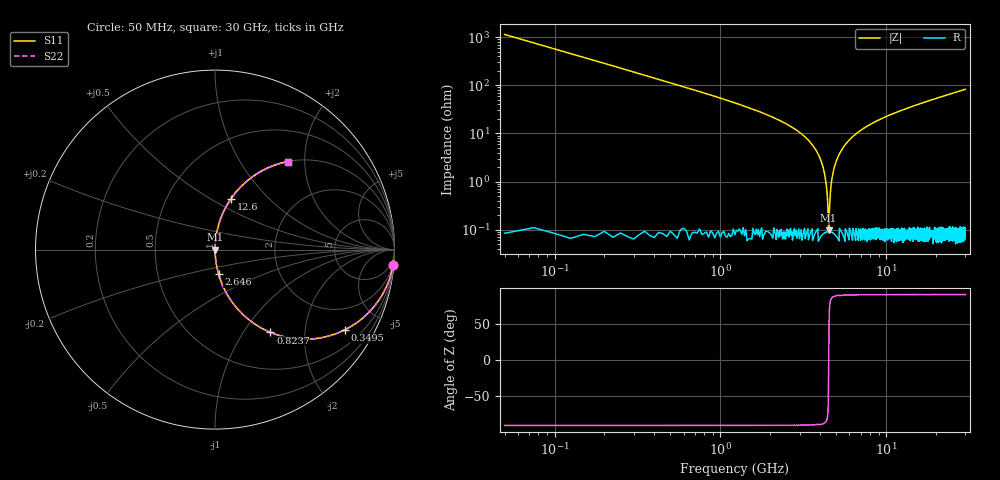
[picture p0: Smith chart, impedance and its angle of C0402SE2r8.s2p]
!	AVX Thin Film Operation 	Date: April 2014
!	Description: Accu-P® Series, Thin Film  SMD RF Capacitor
!	Part Number: 04025J2R8QBSTR
# MHZ S MA R 50
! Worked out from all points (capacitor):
!   1201 points, 50 MHz to 30 GHz, reference 50 ohm
!   read as one part in series: C = 2.8 pF near 199.8 MHz
!   lowest |Z| = 97.9 mohm at 4.493 GHz (marker M1)
!   series resonance near 4.499 GHz, so ESL is about 450 pH
!   S11 on the Smith chart (normalised r, x): 50 MHz: 1, -23; 349.5 MHz: 1.00, -3.23; 823.7 MHz: 1.00, -1.33; 2.646 GHz: 1.00, -0.28; 12.6 GHz: 1.00, +0.62; 30 GHz: 1.00, +1.65
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50  0.996 -5.0  0.088 85.0  0.088 85.0  0.996 -5.0
349.5  0.85 -31.7  0.526 58.2  0.526 58.2  0.85 -31.7
823.708  0.555 -56.2  0.831 33.7  0.831 33.7  0.555 -56.2
1472.625  0.326 -70.9  0.945 19.0  0.945 19.0  0.326 -70.9
2645.667  0.139 -81.7  0.989 8.0  0.989 8.0  0.139 -81.7
3419.375  0.07 -85.3  0.997 4.0  0.997 4.0  0.07 -85.3
3943.5  0.033 -86.7  0.999 1.9  0.999 1.9  0.033 -86.7
4193.083  0.018 -86.3  0.999 1.0  0.999 1.0  0.018 -86.3
4292.917  0.012 -85.3  0.999 0.7  0.999 0.7  0.012 -85.3
4392.75  0.006075 -81.8  0.999 0.3  0.999 0.3  0.006075 -81.8
4492.583  0.000898 -22.5  0.999 0.0  0.999 0.0  0.000898 -22.5
4592.417  0.005272 80.6  0.999 -0.3  0.999 -0.3  0.005272 80.6
4792.083  0.016 86.1  0.999 -0.9  0.999 -0.9  0.016 86.1
5041.667  0.029 86.7  0.999 -1.7  0.999 -1.7  0.029 86.7
5640.667  0.058 85.9  0.998 -3.3  0.998 -3.3  0.058 85.9
6589.083  0.098 83.9  0.994 -5.6  0.994 -5.6  0.098 83.9
10058.29  0.22 77.1  0.975 -12.7  0.975 -12.7  0.22 77.1
12604.04  0.295 72.7  0.955 -17.2  0.955 -17.2  0.295 72.7
15025  0.358 68.9  0.933 -21.0  0.933 -21.0  0.358 68.9
20016.67  0.471 61.8  0.882 -28.1  0.882 -28.1  0.471 61.8
25033.29  0.562 55.7  0.826 -34.2  0.826 -34.2  0.562 55.7
30000  0.635 50.5  0.772 -39.5  0.772 -39.5  0.635 50.5
